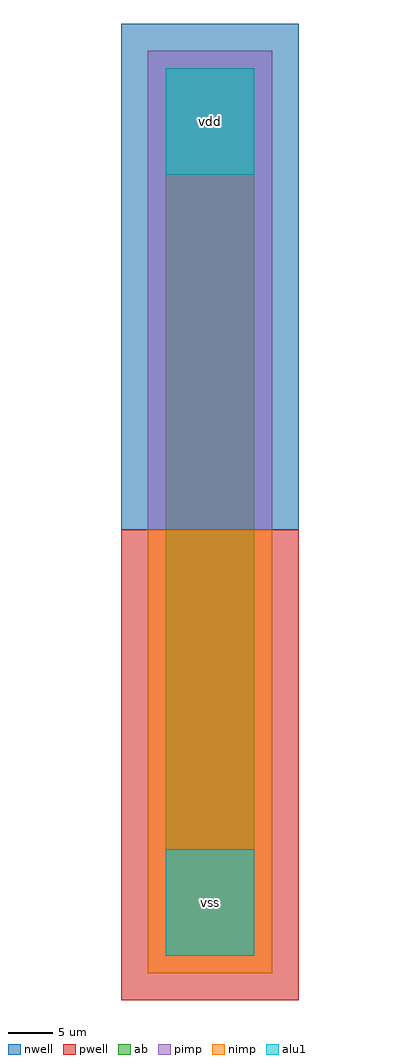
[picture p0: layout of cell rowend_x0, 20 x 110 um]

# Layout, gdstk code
import gdstk
lib = gdstk.Library(unit=1e-6, precision=1e-09)
def R(c, l, rs):  # rectangles x0, y0, x1, y1
    for r in rs: c.add(gdstk.rectangle(r[:2], r[2:], *l))
pwell = (41, 0)
nwell = (42, 0)
pimp = (44, 0)
nimp = (45, 0)
alu1 = (49, 0)
ab = (63, 0)

rowend_x0 = lib.new_cell('rowend_x0')
R(rowend_x0, pwell, [(-5,-5,15,48)])
R(rowend_x0, nwell, [(-5,48,15,105)])
R(rowend_x0, pimp, [(-2,48,12,102)])
R(rowend_x0, nimp, [(-2,-2,12,48)])
R(rowend_x0, alu1, [(0,0,10,12), (0,88,10,100)])
R(rowend_x0, ab, [(0,0,10,100)])
rowend_x0.add(gdstk.Label('vss', (5,6), layer=49, texttype=0))
rowend_x0.add(gdstk.Label('vdd', (5,94), layer=49, texttype=0))

lib.write_gds('rowend_x0.gds')
